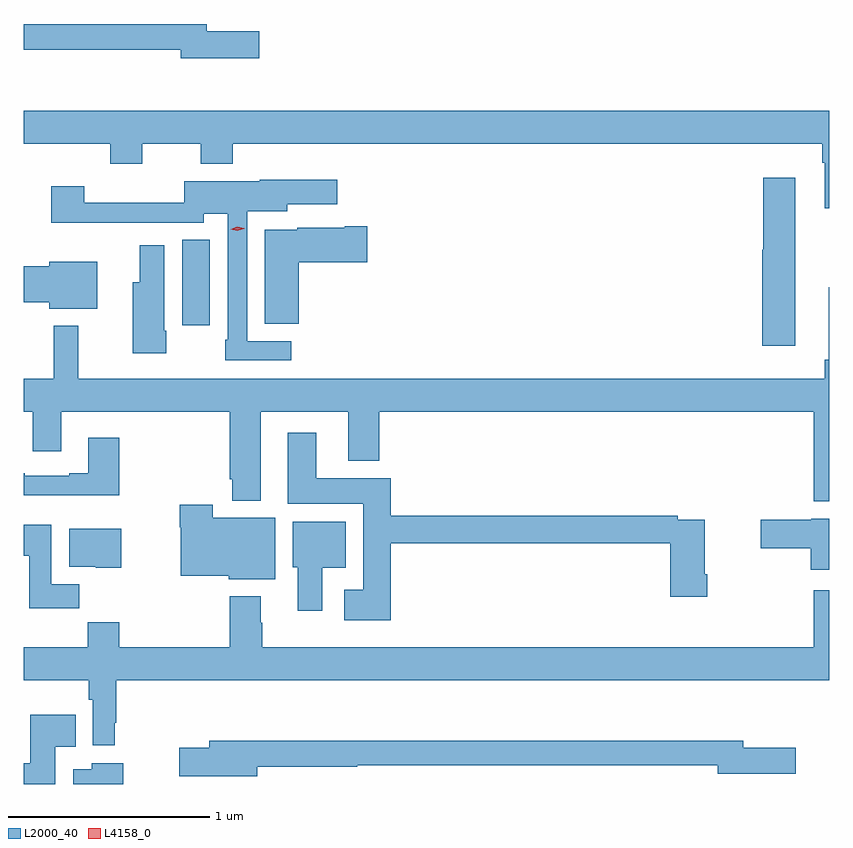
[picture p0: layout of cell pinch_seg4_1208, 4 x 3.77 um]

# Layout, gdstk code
import gdstk
lib = gdstk.Library(unit=1e-6, precision=1e-09)
def R(c, l, rs):  # rectangles x0, y0, x1, y1
    for r in rs: c.add(gdstk.rectangle(r[:2], r[2:], *l))
def P(c, l, *ps):  # polygons
    for p in ps: c.add(gdstk.Polygon(p, *l))
L2000_40 = (2000, 40)
L4158_0 = (4158, 0)

pinch_seg4_1208 = lib.new_cell('pinch_seg4_1208')
R(pinch_seg4_1208, L2000_40, [(348.278,815.898,348.415,816.323)])
P(pinch_seg4_1208, L2000_40, [(348.661,817.358),(348.4,817.358),(348.4,817.394),(347.491,817.394),(347.491,817.266),(348.272,817.266),(348.272,817.223),(348.661,817.223)],
  [(351.491,816.964),(347.491,816.964),(347.491,816.8),(347.921,816.8),(347.921,816.701),(348.081,816.701),(348.081,816.8),(348.37,816.8),(348.37,816.701),(348.53,816.701),(348.53,816.8),(351.455,816.8),(351.455,816.704),(351.467,816.704),(351.467,816.48),(351.491,816.48)],
  [(351.322,816.631),(351.164,816.631),(351.164,816.273),(351.158,816.273),(351.158,815.796),(351.322,815.796)],
  [(348.82,815.82),(348.6,815.82),(348.6,816.464),(348.799,816.464),(348.799,816.5),(349.048,816.5),(349.048,816.622),(348.663,816.622),(348.663,816.613),(348.288,816.613),(348.288,816.506),(347.792,816.506),(347.792,816.589),(347.627,816.589),(347.627,816.407),(347.875,816.407),(347.875,816.408),(348.384,816.408),(348.384,816.452),(348.504,816.452),(348.504,815.827),(348.492,815.827),(348.492,815.724),(348.82,815.724)],
  [(348.856,816.212),(349.198,816.212),(349.198,816.39),(349.085,816.39),(349.085,816.382),(348.849,816.382),(348.849,816.373),(348.689,816.373),(348.689,815.905),(348.856,815.905)],
  [(348.198,815.872),(348.19,815.872),(348.19,816.295),(348.068,816.295),(348.068,816.112),(348.032,816.112),(348.032,815.76),(348.198,815.76)],
  [(347.857,816.214),(347.618,816.214),(347.618,816.191),(347.491,816.191),(347.491,816.013),(347.618,816.013),(347.618,815.981),(347.857,815.981)],
  [(351.491,816.088),(351.488,816.088),(351.488,815.728),(351.469,815.728),(351.469,815.632),(347.762,815.632),(347.762,815.896),(347.641,815.896),(347.641,815.632),(347.491,815.632),(347.491,815.468),(347.537,815.468),(347.537,815.274),(347.677,815.274),(347.677,815.468),(348.515,815.468),(348.515,815.134),(348.527,815.134),(348.527,815.027),(348.667,815.027),(348.667,815.468),(349.103,815.468),(349.103,815.225),(349.256,815.225),(349.256,815.468),(351.414,815.468),(351.414,815.024),(351.491,815.024)],
  [(349.313,814.816),(350.702,814.816),(350.702,814.551),(350.885,814.551),(350.885,814.663),(350.872,814.663),(350.872,814.932),(350.738,814.932),(350.738,814.952),(349.313,814.952),(349.313,815.14),(348.943,815.14),(348.943,815.365),(348.803,815.365),(348.803,815.012),(349.178,815.012),(349.178,814.585),(349.083,814.585),(349.083,814.433),(349.313,814.433)],
  [(347.966,815.341),(347.813,815.341),(347.813,815.164),(347.717,815.164),(347.717,815.151),(347.497,815.151),(347.497,815.164),(347.491,815.164),(347.491,815.054),(347.966,815.054)],
  [(348.739,814.942),(348.43,814.942),(348.43,815.008),(348.265,815.008),(348.265,814.895),(348.272,814.895),(348.272,814.655),(348.51,814.655),(348.51,814.637),(348.739,814.637)],
  [(351.491,814.939),(351.402,814.939),(351.402,814.934),(351.15,814.934),(351.15,814.792),(351.398,814.792),(351.398,814.685),(351.491,814.685)],
  [(348.973,814.694),(349.09,814.694),(349.09,814.924),(348.827,814.924),(348.827,814.698),(348.851,814.698),(348.851,814.482),(348.973,814.482)],
  [(347.768,814.612),(347.629,814.612),(347.629,814.909),(347.491,814.909),(347.491,814.753),(347.519,814.753),(347.519,814.494),(347.768,814.494)],
  [(347.976,814.888),(347.717,814.888),(347.717,814.7),(347.85,814.7),(347.85,814.694),(347.976,814.694)],
  [(347.944,813.925),(347.951,813.925),(347.951,814.136),(351.491,814.136),(351.491,814.582),(351.414,814.582),(351.414,814.3),(348.675,814.3),(348.675,814.421),(348.667,814.421),(348.667,814.552),(348.515,814.552),(348.515,814.3),(347.966,814.3),(347.966,814.424),(347.809,814.424),(347.809,814.3),(347.491,814.3),(347.491,814.136),(347.815,814.136),(347.815,814.04),(347.835,814.04),(347.835,813.813),(347.944,813.813)],
  [(347.647,813.806),(347.75,813.806),(347.75,813.964),(347.525,813.964),(347.525,813.723),(347.491,813.723),(347.491,813.621),(347.647,813.621)],
  [(348.652,813.706),(349.148,813.706),(349.148,813.714),(350.936,813.714),(350.936,813.671),(351.325,813.671),(351.325,813.801),(351.064,813.801),(351.064,813.835),(348.413,813.835),(348.413,813.801),(348.264,813.801),(348.264,813.659),(348.652,813.659)],
  [(347.986,813.724),(347.828,813.724),(347.828,813.694),(347.738,813.694),(347.738,813.621),(347.986,813.621)])
P(pinch_seg4_1208, L4158_0, [(348.552,816.367),(348.518,816.376),(348.517,816.376),(348.518,816.376),(348.551,816.387),(348.586,816.379),(348.586,816.378),(348.586,816.378)])

lib.write_gds('pinch_seg4_1208.gds')
